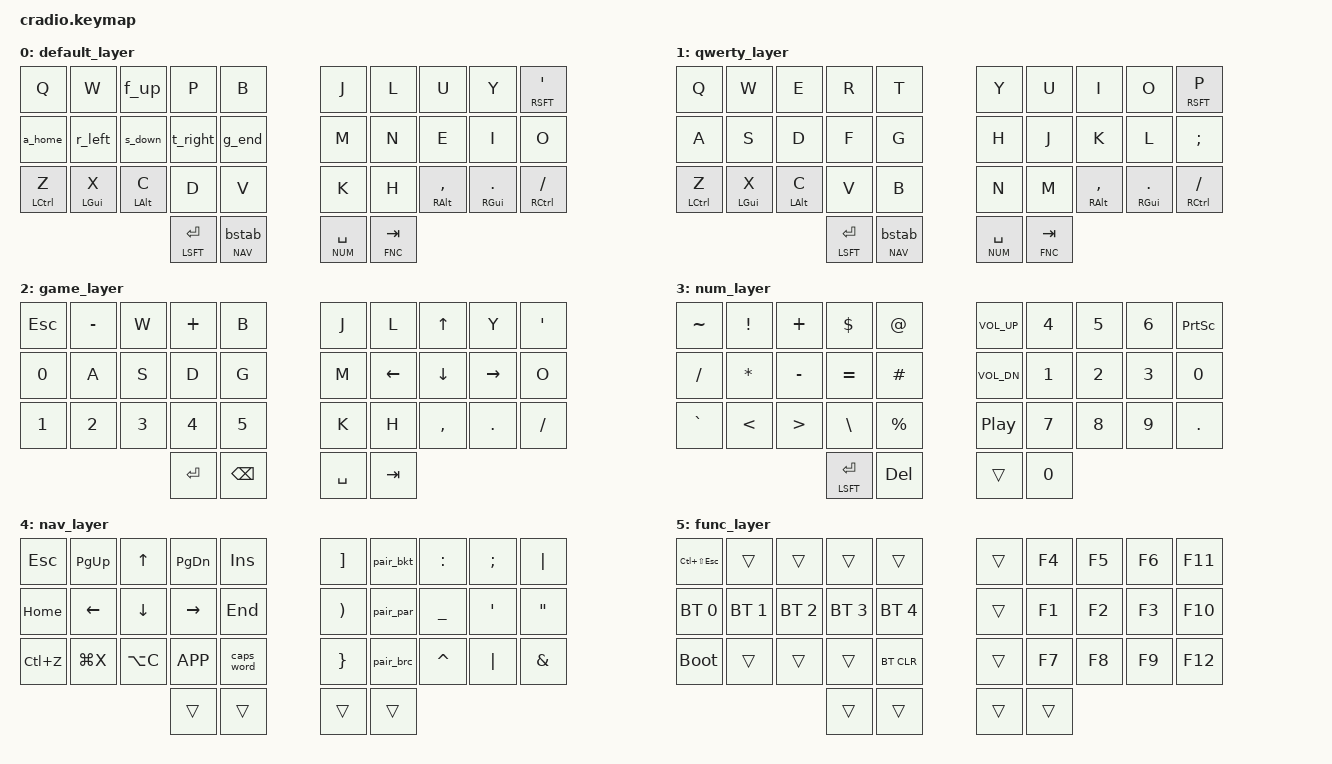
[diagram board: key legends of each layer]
/*
 * Copyright (c) 2020 The ZMK Contributors
 *
 * SPDX-License-Identifier: MIT
 */
/*
TODOs/ideas:
6. add a media layer?
7. custom shift 
*/
#include <behaviors.dtsi>
#include <dt-bindings/zmk/keys.h>
#include <dt-bindings/zmk/bt.h>
#include <dt-bindings/zmk/outputs.h>
#define BASE 0
#define QWE 1
#define GME 2
#define NUM 3
#define NAV 4
#define FNC 5

&mt {
   flavor = "tap-preferred";
   tapping_term_ms = <200>;
};
&lt {
   flavor = "tap-preferred";
   tapping_term_ms = <200>;
   quick-tap-ms = <250>;
};
/ { 
    macros {
        word_return: word_return {
            label = "word_return";
            compatible = "zmk,behavior-macro";
            #binding-cells = <0>;
	    wait-ms = <30>;
            tap-ms = <30>;
            bindings
                = <&kp R &kp E &kp T &kp U &kp R &kp N &kp SPACE>;
        };
	 pair_par: pair_par {
            label = "pair_par";
            compatible = "zmk,behavior-macro";
            #binding-cells = <0>;
	    wait-ms = <30>;
            tap-ms = <30>;
            bindings
                = <&kp LPAR &kp RPAR &kp LEFT>;
        };
	// https://github.com/caksoylar/zmk-config/blob/main/config/3x5.keymap
	bstab: backspace_tab {
            compatible = "zmk,behavior-mod-morph";
            label = "BSPC_TAB";
            #binding-cells = <0>;
            bindings = <&kp BSPC>, <&kp TAB>;
            mods = <(MOD_LGUI|MOD_LALT)>;
        };
	lt_bspc: layer_tap_backspace_tab {
            compatible = "zmk,behavior-hold-tap";
            label = "LT_BT";
            #binding-cells = <2>;
            tapping-term-ms = <150>;
	    quick-tap-ms = <250>;
            flavor = "balanced";
            bindings = <&mo>, <&bstab>;
        };
	a_home: a_home {
            compatible = "zmk,behavior-mod-morph";
            label = "A_HOME";
            #binding-cells = <0>;
            bindings = <&kp A>, <&kp HOME>;
            mods = <(MOD_RCTL|MOD_RSFT|MOD_RGUI)>;
        };
	g_end: g_end {
            compatible = "zmk,behavior-mod-morph";
            label = "G_END";
            #binding-cells = <0>;
            bindings = <&kp G>, <&kp END>;
            mods = <(MOD_RCTL|MOD_RSFT|MOD_RGUI)>;
        };
	f_up: f_up {
            compatible = "zmk,behavior-mod-morph";
            label = "F_UP";
            #binding-cells = <0>;
            bindings = <&kp F>, <&kp UP>;
            mods = <(MOD_RCTL|MOD_RSFT|MOD_RGUI)>;
        };
	r_left: r_left {
            compatible = "zmk,behavior-mod-morph";
            label = "R_LEFT";
            #binding-cells = <0>;
            bindings = <&kp R>, <&kp LEFT>;
            mods = <(MOD_RCTL|MOD_RSFT|MOD_RGUI)>;
        };
	s_down: s_down {
            compatible = "zmk,behavior-mod-morph";
            label = "S_DOWN";
            #binding-cells = <0>;
            bindings = <&kp S>, <&kp DOWN>;
            mods = <(MOD_RCTL|MOD_RSFT|MOD_RGUI)>;
        };
	t_right: t_right {
            compatible = "zmk,behavior-mod-morph";
            label = "T_RIGHT";
            #binding-cells = <0>;
            bindings = <&kp T>, <&kp RIGHT>;
            mods = <(MOD_RCTL|MOD_RSFT|MOD_RGUI)>;
        };
	pair_bkt: pair_bkt {
            label = "pair_bkt";
            compatible = "zmk,behavior-macro";
            #binding-cells = <0>;
	    wait-ms = <30>;
            tap-ms = <30>;
            bindings
                = <&kp LBKT &kp RBKT &kp LEFT>;
        };
	pair_brc: pair_brc {
            label = "pair_brc";
            compatible = "zmk,behavior-macro";
            #binding-cells = <0>;
	    wait-ms = <30>;
            tap-ms = <30>;
            bindings
                = <&kp LBRC &kp RBRC &kp LEFT>;
        };
     };
/*                KEY POSITIONS
  ╭────────────────────╮ ╭────────────────────╮
  │  0   1   2   3   4 │ │  5   6   7   8   9 │
  │ 10  11  12  13  14 │ │ 15  16  17  18  19 │
  │ 20  21  22  23  24 │ │ 25  26  27  28  29 │
  ╰───────────╮ 30  31 │ │ 32  33 ╭───────────╯
              ╰────────╯ ╰────────╯            */
    #define COMBO(NAME, BINDINGS, KEYPOS, LAYERS, TERM) \
        combo_##NAME { \
            timeout-ms = <TERM>; \
            bindings = <BINDINGS>; \
            key-positions = <KEYPOS>; \
            layers = <LAYERS>; \
        };
    combos {
        compatible = "zmk,combos";
	COMBO(close      , &kp LC(W)   ,    1 2    , BASE QWE, 50)//WF
	COMBO(select_all , &kp LC(A)   ,    10 11  , BASE QWE, 50)//AR
	COMBO(word_return, &word_return,    11 13  , BASE QWE, 50)//RT
	COMBO(tog_qwerty , &tog QWE    ,    0 1 17 , BASE QWE, 50)//QWE
	COMBO(tog_game   , &tog GME    ,  14 15 17 , BASE GME, 50)//GME
	COMBO(tog_colemak, &to BASE    ,  6 19 22 , BASE GME, 50)//COL
	
    };
        keymap {
                compatible = "zmk,keymap";
            // Base alpha layer    
       		default_layer {
		bindings = <
	// ╭─────────────┬─────────────┬─────────────┬─────────────┬─────────────╮   ╭─────────────┬─────────────┬─────────────┬─────────────┬─────────────╮
	        &kp Q         &kp W         &f_up         &kp P        &kp B 		   &kp J        &kp L         &kp U         &kp Y     &mt RSFT SQT
	// ├─────────────┼─────────────┼─────────────┼─────────────┼─────────────┤   ├─────────────┼─────────────┼─────────────┼─────────────┼─────────────┤
	       &a_home       &r_left       &s_down       &t_right      &g_end		   &kp M        &kp N         &kp E         &kp I        &kp O
	// ├─────────────┼─────────────┼─────────────┼─────────────┼─────────────┤   ├─────────────┼─────────────┼─────────────┼─────────────┼─────────────┤
	     &mt LCTRL Z    &mt LGUI X    &mt LALT C      &kp D        &kp V	           &kp K        &kp H     &mt RALT CMMA  &mt RGUI DOT &mt RCTRL FSLH
	// ├─────────────┼─────────────┼─────────────┼─────────────┼─────────────┤   ├─────────────┼─────────────┼─────────────┼─────────────┼─────────────┤
          			                     &mt LSFT ENTER &lt_bspc NAV 0     &lt NUM SPACE  &lt FNC TAB
	// ╰─────────────┴─────────────┴─────────────┼─────────────┼─────────────┤   ├─────────────┼─────────────┼─────────────┴─────────────┴─────────────╯
		>;
		};
		
		qwerty_layer {
		bindings = <
	// ╭─────────────┬─────────────┬─────────────┬─────────────┬─────────────╮   ╭─────────────┬─────────────┬─────────────┬─────────────┬─────────────╮
	        &kp Q         &kp W         &kp E         &kp R        &kp T 		   &kp Y        &kp U         &kp I         &kp O      &mt RSFT P
	// ├─────────────┼─────────────┼─────────────┼─────────────┼─────────────┤   ├─────────────┼─────────────┼─────────────┼─────────────┼─────────────┤
		&kp A         &kp S         &kp D         &kp F        &kp G 		   &kp H        &kp J         &kp K         &kp L       &kp SEMI
	// ├─────────────┼─────────────┼─────────────┼─────────────┼─────────────┤   ├─────────────┼─────────────┼─────────────┼─────────────┼─────────────┤
	     &mt LCTRL Z    &mt LGUI X    &mt LALT C      &kp V        &kp B	           &kp N        &kp M     &mt RALT CMMA  &mt RGUI DOT &mt RCTRL FSLH
	// ├─────────────┼─────────────┼─────────────┼─────────────┼─────────────┤   ├─────────────┼─────────────┼─────────────┼─────────────┼─────────────┤
          			                     &mt LSFT ENTER &lt_bspc NAV 0    &lt NUM SPACE  &lt FNC TAB
	// ╰─────────────┴─────────────┴─────────────┼─────────────┼─────────────┤   ├─────────────┼─────────────┼─────────────┴─────────────┴─────────────╯
		>;
		};
		
		game_layer {
		bindings = <
	// ╭─────────────┬─────────────┬─────────────┬─────────────┬─────────────╮   ╭─────────────┬─────────────┬─────────────┬─────────────┬─────────────╮
	        &kp ESC       &kp MINUS      &kp W      &kp PLUS       &kp B 		   &kp J        &kp L         &kp UP         &kp Y       &kp SQT
	// ├─────────────┼─────────────┼─────────────┼─────────────┼─────────────┤   ├─────────────┼─────────────┼─────────────┼─────────────┼─────────────┤
	     &kp NUM_0         &kp A        &kp S         &kp D        &kp G 		   &kp M        &kp LEFT     &kp DOWN      &kp RIGHT      &kp O
	// ├─────────────┼─────────────┼─────────────┼─────────────┼─────────────┤   ├─────────────┼─────────────┼─────────────┼─────────────┼─────────────┤
	       &kp NUM_1     &kp NUM_2     &kp NUM_3     &kp NUM_4     &kp NUM_5	   &kp K        &kp H        &kp CMMA      &kp DOT      &kp FSLH
	// ├─────────────┼─────────────┼─────────────┼─────────────┼─────────────┤   ├─────────────┼─────────────┼─────────────┼─────────────┼─────────────┤
          			                        &kp ENTER     &kp BSPC           &kp SPACE     &kp TAB
	// ╰─────────────┴─────────────┴─────────────┼─────────────┼─────────────┤   ├─────────────┼─────────────┼─────────────┴─────────────┴─────────────╯
		>;
		};

       		num_layer {
		bindings = <
	// ╭─────────────┬─────────────┬─────────────┬─────────────┬─────────────╮   ╭─────────────┬─────────────┬─────────────┬─────────────┬─────────────╮
	       &kp TILDE     &kp EXCL     &kp PLUS      &kp DLLR       &kp AT	       &kp C_VOL_UP   &kp NUM_4     &kp NUM_5     &kp NUM_6     &kp PSCRN
	// ├─────────────┼─────────────┼─────────────┼─────────────┼─────────────┤   ├─────────────┼─────────────┼─────────────┼─────────────┼─────────────┤
	       &kp FSLH      &kp STAR     &kp MINUS     &kp EQUAL     &kp HASH	       &kp C_VOL_DN   &kp NUM_1     &kp NUM_2     &kp NUM_3     &kp NUM_0 
	// ├─────────────┼─────────────┼─────────────┼─────────────┼─────────────┤   ├─────────────┼─────────────┼─────────────┼─────────────┼─────────────┤
	       &kp GRAVE      &kp LT       &kp GT       &kp BSLH      &kp PRCNT          &kp C_PP     &kp NUM_7     &kp NUM_8     &kp NUM_9     &kp DOT 
	// ├─────────────┼─────────────┼─────────────┼─────────────┼─────────────┤   ├─────────────┼─────────────┼─────────────┼─────────────┼─────────────┤
					              &mt LSFT ENTER   &kp DEL            &trans      &kp NUM_0 
	// ╰─────────────┴─────────────┴─────────────┼─────────────┼─────────────┤   ├─────────────┼─────────────┼─────────────┴─────────────┴─────────────╯
		>;
		};
		
		nav_layer {
		bindings = <
	// ╭─────────────┬─────────────┬─────────────┬─────────────┬─────────────╮   ╭─────────────┬─────────────┬─────────────┬─────────────┬─────────────╮
	       &kp ESC       &kp PG_UP     &kp UP       &kp PG_DN     &kp INS            &kp RBKT     &pair_bkt     &kp COLON     &kp SEMI      &kp PIPE 
	// ├─────────────┼─────────────┼─────────────┼─────────────┼─────────────┤   ├─────────────┼─────────────┼─────────────┼─────────────┼─────────────┤
	       &kp HOME      &kp LEFT     &kp DOWN      &kp RIGHT     &kp END            &kp RPAR     &pair_par     &kp UNDER     &kp SQT       &kp DQT
	// ├─────────────┼─────────────┼─────────────┼─────────────┼─────────────┤   ├─────────────┼─────────────┼─────────────┼─────────────┼─────────────┤
	       &kp LC(Z)     &kp LG(X)    &kp LA(C)     &kp K_APP     &caps_word         &kp RBRC     &pair_brc     &kp CARET     &kp PIPE      &kp AMPS
	// ├─────────────┼─────────────┼─────────────┼─────────────┼─────────────┤   ├─────────────┼─────────────┼─────────────┼─────────────┼─────────────┤
	                                                  &trans       &trans             &trans       &trans 
	// ╰─────────────┴─────────────┴─────────────┼─────────────┼─────────────┤   ├─────────────┼─────────────┼─────────────┴─────────────┴─────────────╯
		>;
		};	
		
		func_layer {
		bindings = <
	// ╭─────────────┬─────────────┬─────────────┬─────────────┬─────────────╮   ╭─────────────┬─────────────┬─────────────┬─────────────┬─────────────╮
	   &kp LC(LS(ESC))    &trans        &trans        &trans       &trans             &trans       &kp F4        &kp F5        &kp F6       &kp F11
	// ├─────────────┼─────────────┼─────────────┼─────────────┼─────────────┤   ├─────────────┼─────────────┼─────────────┼─────────────┼─────────────┤
	     &bt BT_SEL 0  &bt BT_SEL 1  &bt BT_SEL 2  &bt BT_SEL 3  &bt BT_SEL 4         &trans       &kp F1        &kp F2        &kp F3       &kp F10  
	// ├─────────────┼─────────────┼─────────────┼─────────────┼─────────────┤   ├─────────────┼─────────────┼─────────────┼─────────────┼─────────────┤
	      &bootloader     &trans        &trans        &trans      &bt BT_CLR          &trans       &kp F7        &kp F8        &kp F9       &kp F12  
	// ├─────────────┼─────────────┼─────────────┼─────────────┼─────────────┤   ├─────────────┼─────────────┼─────────────┼─────────────┼─────────────┤
	                                                  &trans       &trans             &trans       &trans 
	// ╰─────────────┴─────────────┴─────────────┼─────────────┼─────────────┤   ├─────────────┼─────────────┼─────────────┴─────────────┴─────────────╯
		>;
		};	
        
	};
};
